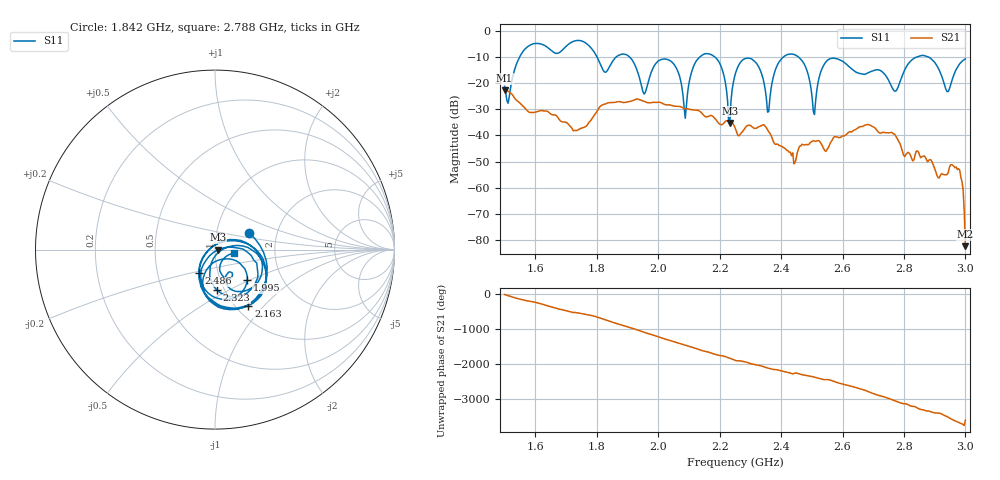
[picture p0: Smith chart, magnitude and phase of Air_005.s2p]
# HZ S RI R 50
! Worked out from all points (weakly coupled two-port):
!   404 points, 1.5 GHz to 3 GHz, reference 50 ohm
!   highest |S21| = -22.71 dB at 1.5 GHz (marker M1); lowest = -82.3 dB at 3 GHz (marker M2)
!   lowest |S11| = -35.2 dB at 2.233 GHz (marker M3), VSWR 1.04, Z = 51.8 - j0.0712 ohm
!   |S11| at or under -10 dB: 1.907 GHz to 2.136 GHz (228.9 MHz wide, 11.3 % of centre); 2.184 GHz to 2.408 GHz (223.4 MHz wide, 9.73 % of centre); 2.456 GHz to 2.842 GHz (385.8 MHz wide, 14.6 % of centre) (the widest 3 of 6)
!   S12 and S22 are empty: the file has one direction only
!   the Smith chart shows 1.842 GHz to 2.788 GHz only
!   S11 on the Smith chart (normalised r, x): 1.842 GHz: 1.43, +0.28; 1.995 GHz: 1.34, -0.48; 2.163 GHz: 1.14, -0.82; 2.323 GHz: 0.92, -0.44; 2.486 GHz: 0.81, -0.22; 2.788 GHz: 1.24, -0.05
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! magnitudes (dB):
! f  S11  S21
! 1.5 GHz  -21.2  -22.7
! 1.578 GHz  -5.8  -31.0
! 1.753 GHz  -4.0  -37.1
! 1.842 GHz  -13.5  -27.4
! 1.902 GHz  -9.5  -27.1
! 1.954 GHz  -24.2  -26.9
! 1.995 GHz  -12.1  -27.4
! 2.002 GHz  -11.4  -27.3
! 2.088 GHz  -33.4  -29.8
! 2.163 GHz  -8.8  -32.7
! 2.233 GHz  -35.2  -34.6
! 2.252 GHz  -16.2  -37.5
! 2.323 GHz  -12.9  -37.0
! 2.356 GHz  -31.1  -37.9
! 2.412 GHz  -9.6  -44.9
! 2.486 GHz  -16.0  -43.5
! 2.501 GHz  -25.7  -42.2
! 2.565 GHz  -10.5  -42.1
! 2.751 GHz  -19.1  -39.0
! 2.788 GHz  -19.2  -43.3
! 2.974 GHz  -14.0  -53.0
! 3 GHz  -10.7  -82.3
